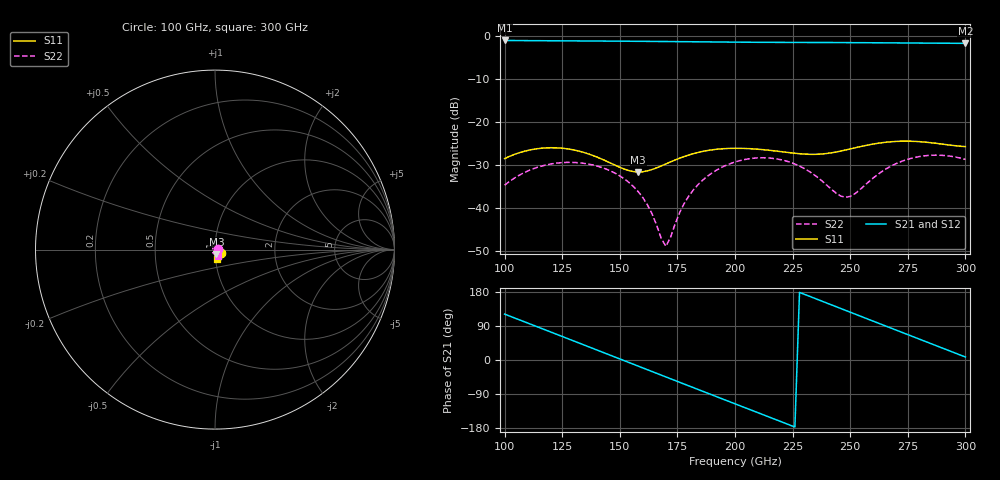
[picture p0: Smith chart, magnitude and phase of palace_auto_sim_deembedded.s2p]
! Created with skrf 1.11.0 (http://scikit-rf.org).
# GHz S DB R 50.0
!freq dBS11 angS11 dBS21 angS21 dBS12 angS12 dBS22 angS22
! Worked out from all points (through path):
!   101 points, 100 GHz to 300 GHz, reference 50 ohm
!   highest |S21| = -1.06 dB at 100 GHz (marker M1); lowest = -1.7 dB at 300 GHz (marker M2)
!   group delay of S21, straight-line fit = 6.57 ps
!   lowest |S11| = -31.6 dB at 158 GHz (marker M3), VSWR 1.05, Z = 50.8 - j2.53 ohm
!   |S11| at or under -10 dB: start of sweep to end of sweep
!   |S22| runs from -48.8 to -27.7 dB; largest |S21 - S12| = 1.4e-13
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100  -28.50 -34.0  -1.06 121.1  -1.06 121.1  -34.66 8.4
108  -26.88 -44.4  -1.10 102.2  -1.10 102.2  -31.89 0.7
116  -26.09 -56.4  -1.13 83.4  -1.13 83.4  -30.24 -11.3
124  -26.04 -68.5  -1.15 64.5  -1.15 64.5  -29.47 -25.3
134  -27.01 -81.3  -1.18 40.8  -1.18 40.8  -29.57 -44.5
146  -29.54 -87.1  -1.22 12.3  -1.22 12.3  -31.37 -69.9
158  -31.61 -71.6  -1.26 -16.2  -1.26 -16.2  -36.19 -100.5
164  -31.04 -60.8  -1.29 -30.4  -1.29 -30.4  -41.34 -124.8
168  -30.20 -56.3  -1.30 -39.9  -1.30 -39.9  -47.06 -163.2
170  -29.73 -55.0  -1.31 -44.7  -1.31 -44.7  -48.83 155.5
178  -28.01 -55.1  -1.35 -63.6  -1.35 -63.6  -38.88 67.7
184  -27.07 -58.4  -1.38 -77.8  -1.38 -77.8  -34.52 46.5
200  -26.11 -70.2  -1.45 -115.6  -1.45 -115.6  -29.29 2.7
218  -26.75 -77.9  -1.51 -158.0  -1.51 -158.0  -28.56 -47.8
226  -27.26 -77.2  -1.52 -176.9  -1.52 -176.9  -29.76 -73.4
234  -27.51 -73.3  -1.53 164.2  -1.53 164.2  -32.12 -103.9
248  -26.50 -66.0  -1.56 131.0  -1.56 131.0  -37.48 161.5
258  -25.32 -67.1  -1.59 107.2  -1.59 107.2  -33.90 84.7
268  -24.58 -72.3  -1.63 83.5  -1.63 83.5  -30.17 40.8
276  -24.46 -77.0  -1.66 64.6  -1.66 64.6  -28.50 13.2
286  -24.87 -81.2  -1.69 41.0  -1.69 41.0  -27.71 -19.2
300  -25.71 -79.2  -1.73 7.9  -1.73 7.9  -28.69 -66.2
